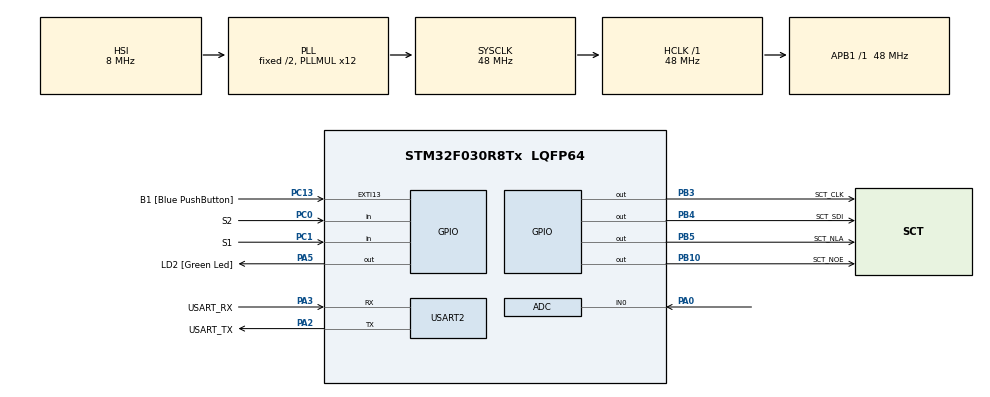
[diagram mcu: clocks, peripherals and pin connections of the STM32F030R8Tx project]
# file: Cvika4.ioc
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ADC.ContinuousConvMode=ENABLE
ADC.Overrun=ADC_OVR_DATA_OVERWRITTEN
ADC.SamplingTime=ADC_SAMPLETIME_239CYCLES_5
Mcu.Family=STM32F0
Mcu.Name=STM32F030R8Tx
Mcu.Package=LQFP64
NVIC.ADC1_IRQn=true\:0\:0\:false\:false\:true\:true\:true\:true
PA0.Mode=IN0
PA0.Signal=ADC_IN0
PA13.GPIO_Label=TMS
PA13.Mode=Serial_Wire
PA13.Signal=SYS_SWDIO
PA14.GPIO_Label=TCK
PA14.Mode=Serial_Wire
PA14.Signal=SYS_SWCLK
PA2.GPIO_Label=USART_TX
PA2.GPIO_Mode=GPIO_MODE_AF_PP
PA2.GPIO_PuPd=GPIO_NOPULL
PA2.GPIO_Speed=GPIO_SPEED_FREQ_LOW
PA2.Mode=Asynchronous
PA2.Signal=USART2_TX
PA3.GPIO_Label=USART_RX
PA3.GPIO_Mode=GPIO_MODE_AF_PP
PA3.GPIO_PuPd=GPIO_NOPULL
PA3.GPIO_Speed=GPIO_SPEED_FREQ_LOW
PA3.Mode=Asynchronous
PA3.Signal=USART2_RX
PA5.GPIO_Label=LD2 [Green Led]
PA5.GPIO_Mode=GPIO_MODE_OUTPUT_PP
PA5.GPIO_PuPd=GPIO_NOPULL
PA5.GPIO_Speed=GPIO_SPEED_FREQ_LOW
PA5.Signal=GPIO_Output
PB10.GPIO_Label=SCT_NOE
PB10.Signal=GPIO_Output
PB3.GPIO_Label=SCT_CLK
PB3.Signal=GPIO_Output
PB4.GPIO_Label=SCT_SDI
PB4.Signal=GPIO_Output
PB5.GPIO_Label=SCT_NLA
PB5.Signal=GPIO_Output
PC0.GPIO_Label=S2
PC0.GPIO_PuPd=GPIO_PULLUP
PC0.Signal=GPIO_Input
PC1.GPIO_Label=S1
PC1.GPIO_PuPd=GPIO_PULLUP
PC1.Signal=GPIO_Input
PC13.GPIO_Label=B1 [Blue PushButton]
PC13.GPIO_ModeDefaultEXTI=GPIO_MODE_IT_FALLING
PC13.Signal=GPXTI13
PC14-OSC32_IN.Mode=LSE-External-Oscillator
PC14-OSC32_IN.Signal=RCC_OSC32_IN
PC15-OSC32_OUT.Mode=LSE-External-Oscillator
PC15-OSC32_OUT.Signal=RCC_OSC32_OUT
PF0-OSC_IN.Mode=HSE-External-Clock-Source
PF0-OSC_IN.Signal=RCC_OSC_IN
PF1-OSC_OUT.Signal=RCC_OSC_OUT
ProjectManager.HeapSize=0x200
ProjectManager.StackSize=0x400
ProjectManager.TargetToolchain=STM32CubeIDE
RCC.AHBFreq_Value=48000000
RCC.APB1Freq_Value=48000000
RCC.APB1TimFreq_Value=48000000
RCC.HCLKFreq_Value=48000000
RCC.PLLMUL=RCC_PLL_MUL12
RCC.SYSCLKFreq_VALUE=48000000
RCC.SYSCLKSource=RCC_SYSCLKSOURCE_PLLCLK
USART2.VirtualMode-Asynchronous=VM_ASYNC
VP_ADC_TempSens_Input.Mode=IN-TempSens
VP_ADC_Vref_Input.Mode=IN-Vrefint
board=NUCLEO-F030R8

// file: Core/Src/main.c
/* USER CODE BEGIN Header */
/**
 ******************************************************************************
 * @file           : main.c
 * @brief          : Main program body
 ******************************************************************************
 * @attention
 *
 * Copyright (c) 2024 STMicroelectronics.
 * All rights reserved.
 *
 * This software is licensed under terms that can be found in the LICENSE file
 * in the root directory of this software component.
 * If no LICENSE file comes with this software, it is provided AS-IS.
 *
 ******************************************************************************
 */
/* USER CODE END Header */
#include "main.h"

/* USER CODE BEGIN Includes */
#include <stdint.h>
#include "sct.h"
/* USER CODE END Includes */

/* USER CODE BEGIN PD */
#define ADC_Q 12 //Smoothing factor
#define BAR (raw_pot * 9) / 4096 //LED bar

/* Temperature sensor calibration value address */
#define TEMP110_CAL_ADDR ((uint16_t*) ((uint32_t) 0x1FFFF7C2))
#define TEMP30_CAL_ADDR ((uint16_t*) ((uint32_t) 0x1FFFF7B8))

/* Internal voltage reference calibration value address */
#define VREFINT_CAL_ADDR ((uint16_t*) ((uint32_t) 0x1FFFF7BA))

/* USER CODE END PD */

ADC_HandleTypeDef hadc;

UART_HandleTypeDef huart2;

void SystemClock_Config(void);
static void MX_GPIO_Init(void);
static void MX_USART2_UART_Init(void);
static void MX_ADC_Init(void);

/* USER CODE BEGIN 0 */

static volatile uint32_t raw_pot = 0;
uint32_t raw_temp = 0;
uint32_t raw_volt = 0;

void HAL_ADC_ConvCpltCallback(ADC_HandleTypeDef* hadc) //ADC callback
{
	static uint32_t avg_pot;
	static uint8_t channel;

	switch (channel)
	{
	case 0:  //Trimmer
		raw_pot = avg_pot >> ADC_Q; //Slower "accumulative" refresh (??)
		avg_pot -= raw_pot;
		avg_pot += HAL_ADC_GetValue(hadc);

		break;

	case 1:  //Temp
		raw_temp = HAL_ADC_GetValue(hadc);  // Read the raw temperature value
		break;

	case 2:  //Voltage ref
		raw_volt = HAL_ADC_GetValue(hadc);  // Read the raw voltage reference value
		break;

	default:
		break;
	}

	if (__HAL_ADC_GET_FLAG(hadc, ADC_FLAG_EOS)) channel = 0; //Conversion complete (??)
	else channel++;
}

/* USER CODE END 0 */

int main(void)
{

	/* MCU Configuration--------------------------------------------------------*/

	/* Reset of all peripherals, Initializes the Flash interface and the Systick. */
	HAL_Init();

	/* USER CODE BEGIN Init */
	sct_init(); //Init LED driver

	/* USER CODE END Init */

	/* Configure the system clock */
	SystemClock_Config();

	/* Initialize all configured peripherals */
	MX_GPIO_Init();
	MX_USART2_UART_Init();
	MX_ADC_Init();
	/* USER CODE BEGIN 2 */

	HAL_ADCEx_Calibration_Start(&hadc); //ADC calibration & initialization
	HAL_ADC_Start_IT(&hadc);

	/* USER CODE END 2 */

	/* Infinite loop */
	/* USER CODE BEGIN WHILE */
	while (1)
	{
		//uint32_t rescaled_pot = (raw_pot * 501) / 4096; //Rescale to 12-bit value in range 0-500

		uint32_t voltage = 330 * (*VREFINT_CAL_ADDR) / raw_volt;
		int32_t temperature = (raw_temp - (int32_t)(*TEMP30_CAL_ADDR));
		temperature = temperature * (int32_t)(110 - 30);
		temperature = temperature / (int32_t)(*TEMP110_CAL_ADDR - *TEMP30_CAL_ADDR);
		temperature = temperature + 30;

		static uint32_t button_time = 0;
		static uint32_t button_pressed = 0;

		//static enum {SHOW_POT, SHOW_TEMP, SHOW_TEMP} state = SHOW_POT;

		if (HAL_GPIO_ReadPin(S2_GPIO_Port, S2_Pin) == 0 && !button_pressed)
		{
			button_pressed = 1;
			button_time = HAL_GetTick();

			sct_value(temperature, BAR);
		}

		else if (HAL_GPIO_ReadPin(S1_GPIO_Port, S1_Pin) == 0 && !button_pressed)
		{

			button_pressed = 1;
			button_time = HAL_GetTick();

			sct_value(voltage, BAR);
		}

		else if(button_pressed)
		{
			if (HAL_GetTick() - button_time >= 1000) //Reset after 1s
			{
				button_pressed = 0;
				sct_value((raw_pot * 501) / 4096, BAR);
			}
		}

		else
		{
			sct_value((raw_pot * 501) / 4096, BAR);
			HAL_Delay(50);
		}

		/* USER CODE END WHILE */

	}
}

void SystemClock_Config(void)
{
	RCC_OscInitTypeDef RCC_OscInitStruct = {0};
	RCC_ClkInitTypeDef RCC_ClkInitStruct = {0};

	/** Initializes the RCC Oscillators according to the specified parameters
	 * in the RCC_OscInitTypeDef structure.
	 */
	RCC_OscInitStruct.OscillatorType = RCC_OSCILLATORTYPE_HSI|RCC_OSCILLATORTYPE_HSI14;
	RCC_OscInitStruct.HSIState = RCC_HSI_ON;
	RCC_OscInitStruct.HSI14State = RCC_HSI14_ON;
	RCC_OscInitStruct.HSICalibrationValue = RCC_HSICALIBRATION_DEFAULT;
	RCC_OscInitStruct.HSI14CalibrationValue = 16;
	RCC_OscInitStruct.PLL.PLLState = RCC_PLL_ON;
	RCC_OscInitStruct.PLL.PLLSource = RCC_PLLSOURCE_HSI;
	RCC_OscInitStruct.PLL.PLLMUL = RCC_PLL_MUL12;
	RCC_OscInitStruct.PLL.PREDIV = RCC_PREDIV_DIV1;
	if (HAL_RCC_OscConfig(&RCC_OscInitStruct) != HAL_OK)
	{
		Error_Handler();
	}

	/** Initializes the CPU, AHB and APB buses clocks
	 */
	RCC_ClkInitStruct.ClockType = RCC_CLOCKTYPE_HCLK|RCC_CLOCKTYPE_SYSCLK
			|RCC_CLOCKTYPE_PCLK1;
	RCC_ClkInitStruct.SYSCLKSource = RCC_SYSCLKSOURCE_PLLCLK;
	RCC_ClkInitStruct.AHBCLKDivider = RCC_SYSCLK_DIV1;
	RCC_ClkInitStruct.APB1CLKDivider = RCC_HCLK_DIV1;

	if (HAL_RCC_ClockConfig(&RCC_ClkInitStruct, FLASH_LATENCY_1) != HAL_OK)
	{
		Error_Handler();
	}
}

static void MX_ADC_Init(void)
{

	ADC_ChannelConfTypeDef sConfig = {0};

	/** Configure the global features of the ADC (Clock, Resolution, Data Alignment and number of conversion)
	 */
	hadc.Instance = ADC1;
	hadc.Init.ClockPrescaler = ADC_CLOCK_ASYNC_DIV1;
	hadc.Init.Resolution = ADC_RESOLUTION_12B;
	hadc.Init.DataAlign = ADC_DATAALIGN_RIGHT;
	hadc.Init.ScanConvMode = ADC_SCAN_DIRECTION_FORWARD;
	hadc.Init.EOCSelection = ADC_EOC_SINGLE_CONV;
	hadc.Init.LowPowerAutoWait = DISABLE;
	hadc.Init.LowPowerAutoPowerOff = DISABLE;
	hadc.Init.ContinuousConvMode = ENABLE;
	hadc.Init.DiscontinuousConvMode = DISABLE;
	hadc.Init.ExternalTrigConv = ADC_SOFTWARE_START;
	hadc.Init.ExternalTrigConvEdge = ADC_EXTERNALTRIGCONVEDGE_NONE;
	hadc.Init.DMAContinuousRequests = DISABLE;
	hadc.Init.Overrun = ADC_OVR_DATA_OVERWRITTEN;
	if (HAL_ADC_Init(&hadc) != HAL_OK)
	{
		Error_Handler();
	}

	/** Configure for the selected ADC regular channel to be converted.
	 */
	sConfig.Channel = ADC_CHANNEL_0;
	sConfig.Rank = ADC_RANK_CHANNEL_NUMBER;
	sConfig.SamplingTime = ADC_SAMPLETIME_239CYCLES_5;
	if (HAL_ADC_ConfigChannel(&hadc, &sConfig) != HAL_OK)
	{
		Error_Handler();
	}

	/** Configure for the selected ADC regular channel to be converted.
	 */
	sConfig.Channel = ADC_CHANNEL_TEMPSENSOR;
	if (HAL_ADC_ConfigChannel(&hadc, &sConfig) != HAL_OK)
	{
		Error_Handler();
	}

	/** Configure for the selected ADC regular channel to be converted.
	 */
	sConfig.Channel = ADC_CHANNEL_VREFINT;
	if (HAL_ADC_ConfigChannel(&hadc, &sConfig) != HAL_OK)
	{
		Error_Handler();
	}

}

static void MX_USART2_UART_Init(void)
{

	huart2.Instance = USART2;
	huart2.Init.BaudRate = 38400;
	huart2.Init.WordLength = UART_WORDLENGTH_8B;
	huart2.Init.StopBits = UART_STOPBITS_1;
	huart2.Init.Parity = UART_PARITY_NONE;
	huart2.Init.Mode = UART_MODE_TX_RX;
	huart2.Init.HwFlowCtl = UART_HWCONTROL_NONE;
	huart2.Init.OverSampling = UART_OVERSAMPLING_16;
	huart2.Init.OneBitSampling = UART_ONE_BIT_SAMPLE_DISABLE;
	huart2.AdvancedInit.AdvFeatureInit = UART_ADVFEATURE_NO_INIT;
	if (HAL_UART_Init(&huart2) != HAL_OK)
	{
		Error_Handler();
	}

}

static void MX_GPIO_Init(void)
{
	GPIO_InitTypeDef GPIO_InitStruct = {0};

	/* GPIO Ports Clock Enable */
	__HAL_RCC_GPIOC_CLK_ENABLE();
	__HAL_RCC_GPIOF_CLK_ENABLE();
	__HAL_RCC_GPIOA_CLK_ENABLE();
	__HAL_RCC_GPIOB_CLK_ENABLE();

	/*Configure GPIO pin Output Level */
	HAL_GPIO_WritePin(LD2_GPIO_Port, LD2_Pin, GPIO_PIN_RESET);

	/*Configure GPIO pin Output Level */
	HAL_GPIO_WritePin(GPIOB, SCT_NOE_Pin|SCT_CLK_Pin|SCT_SDI_Pin|SCT_NLA_Pin, GPIO_PIN_RESET);

	/*Configure GPIO pin : B1_Pin */
	GPIO_InitStruct.Pin = B1_Pin;
	GPIO_InitStruct.Mode = GPIO_MODE_IT_FALLING;
	GPIO_InitStruct.Pull = GPIO_NOPULL;
	HAL_GPIO_Init(B1_GPIO_Port, &GPIO_InitStruct);

	/*Configure GPIO pins : S2_Pin S1_Pin */
	GPIO_InitStruct.Pin = S2_Pin|S1_Pin;
	GPIO_InitStruct.Mode = GPIO_MODE_INPUT;
	GPIO_InitStruct.Pull = GPIO_PULLUP;
	HAL_GPIO_Init(GPIOC, &GPIO_InitStruct);

	/*Configure GPIO pin : LD2_Pin */
	GPIO_InitStruct.Pin = LD2_Pin;
	GPIO_InitStruct.Mode = GPIO_MODE_OUTPUT_PP;
	GPIO_InitStruct.Pull = GPIO_NOPULL;
	GPIO_InitStruct.Speed = GPIO_SPEED_FREQ_LOW;
	HAL_GPIO_Init(LD2_GPIO_Port, &GPIO_InitStruct);

	/*Configure GPIO pins : SCT_NOE_Pin SCT_CLK_Pin SCT_SDI_Pin SCT_NLA_Pin */
	GPIO_InitStruct.Pin = SCT_NOE_Pin|SCT_CLK_Pin|SCT_SDI_Pin|SCT_NLA_Pin;
	GPIO_InitStruct.Mode = GPIO_MODE_OUTPUT_PP;
	GPIO_InitStruct.Pull = GPIO_NOPULL;
	GPIO_InitStruct.Speed = GPIO_SPEED_FREQ_LOW;
	HAL_GPIO_Init(GPIOB, &GPIO_InitStruct);

}

void Error_Handler(void)
{
	__disable_irq();
	while (1)
	{
	}
}
